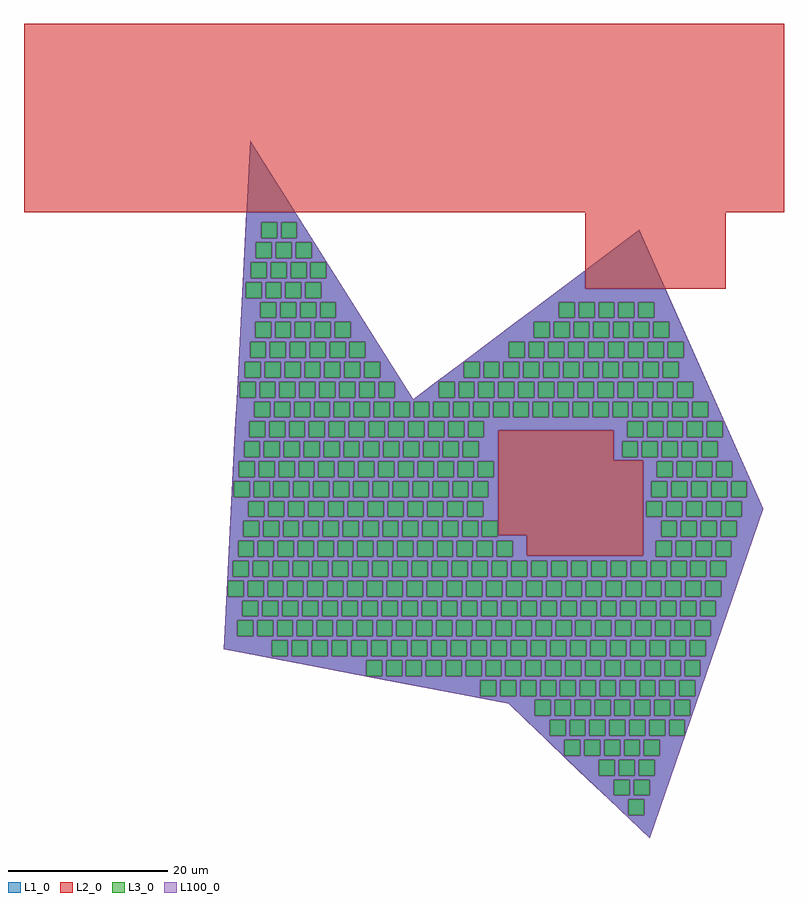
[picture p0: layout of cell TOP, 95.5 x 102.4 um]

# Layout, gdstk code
import gdstk
lib = gdstk.Library(unit=1e-6, precision=1e-09)
def R(c, l, rs):  # rectangles x0, y0, x1, y1
    for r in rs: c.add(gdstk.rectangle(r[:2], r[2:], *l))
def P(c, l, *ps):  # polygons
    for p in ps: c.add(gdstk.Polygon(p, *l))
L1_0 = (1, 0)
L2_0 = (2, 0)
L3_0 = (3, 0)
L100_0 = (100, 0)

fill_cell = lib.new_cell('FILL_CELL')
R(fill_cell, L3_0, [(0,0,2,2)])

top = lib.new_cell('TOP')
P(top, L1_0, [(51.8,-25.4),(34.1,-8.5),(-1.7,-1.6),(1.6,62.3),(22.1,29.8),(50.5,51.1),(66.1,16)])
R(top, L2_0, [(36.4,10.1,51,22.1), (32.8,12.7,47.3,25.9), (43.7,43.7,61.4,56.5), (-26.8,53.3,68.7,77)])
P(top, L100_0, [(51.8,-25.4),(46.668,-20.5),(49.15,-20.5),(49.15,-22.5),(51.15,-22.5),(51.15,-20.5),(46.668,-20.5),(44.05,-18),(47.3,-18),(47.3,-20),(49.3,-20),(49.3,-18),(49.8,-18),(49.8,-20),(51.8,-20),(51.8,-18),(44.05,-18),(41.432,-15.5),(45.45,-15.5),(45.45,-17.5),(47.45,-17.5),(47.45,-15.5),(47.95,-15.5),(47.95,-17.5),(49.95,-17.5),(49.95,-15.5),(50.45,-15.5),(50.45,-17.5),(52.45,-17.5),(52.45,-15.5),(41.432,-15.5),(38.813,-13),(41.1,-13),(41.1,-15),(43.1,-15),(43.1,-13),(43.6,-13),(43.6,-15),(45.6,-15),(45.6,-13),(46.1,-13),(46.1,-15),(48.1,-15),(48.1,-13),(48.6,-13),(48.6,-15),(50.6,-15),(50.6,-13),(51.1,-13),(51.1,-15),(53.1,-15),(53.1,-13),(38.813,-13),(36.195,-10.5),(39.25,-10.5),(39.25,-12.5),(41.25,-12.5),(41.25,-10.5),(41.75,-10.5),(41.75,-12.5),(43.75,-12.5),(43.75,-10.5),(44.25,-10.5),(44.25,-12.5),(46.25,-12.5),(46.25,-10.5),(46.75,-10.5),(46.75,-12.5),(48.75,-12.5),(48.75,-10.5),(49.25,-10.5),(49.25,-12.5),(51.25,-12.5),(51.25,-10.5),(51.75,-10.5),(51.75,-12.5),(53.75,-12.5),(53.75,-10.5),(54.25,-10.5),(54.25,-12.5),(56.25,-12.5),(56.25,-10.5),(36.195,-10.5),(34.1,-8.5),(31.506,-8),(37.4,-8),(37.4,-10),(39.4,-10),(39.4,-8),(39.9,-8),(39.9,-10),(41.9,-10),(41.9,-8),(42.4,-8),(42.4,-10),(44.4,-10),(44.4,-8),(44.9,-8),(44.9,-10),(46.9,-10),(46.9,-8),(47.4,-8),(47.4,-10),(49.4,-10),(49.4,-8),(49.9,-8),(49.9,-10),(51.9,-10),(51.9,-8),(52.4,-8),(52.4,-10),(54.4,-10),(54.4,-8),(54.9,-8),(54.9,-10),(56.9,-10),(56.9,-8),(31.506,-8),(18.535,-5.5),(30.55,-5.5),(30.55,-7.5),(32.55,-7.5),(32.55,-5.5),(33.05,-5.5),(33.05,-7.5),(35.05,-7.5),(35.05,-5.5),(35.55,-5.5),(35.55,-7.5),(37.55,-7.5),(37.55,-5.5),(38.05,-5.5),(38.05,-7.5),(40.05,-7.5),(40.05,-5.5),(40.55,-5.5),(40.55,-7.5),(42.55,-7.5),(42.55,-5.5),(43.05,-5.5),(43.05,-7.5),(45.05,-7.5),(45.05,-5.5),(45.55,-5.5),(45.55,-7.5),(47.55,-7.5),(47.55,-5.5),(48.05,-5.5),(48.05,-7.5),(50.05,-7.5),(50.05,-5.5),(50.55,-5.5),(50.55,-7.5),(52.55,-7.5),(52.55,-5.5),(53.05,-5.5),(53.05,-7.5),(55.05,-7.5),(55.05,-5.5),(55.55,-5.5),(55.55,-7.5),(57.55,-7.5),(57.55,-5.5),(18.535,-5.5),(5.564,-3),(16.2,-3),(16.2,-5),(18.2,-5),(18.2,-3),(18.7,-3),(18.7,-5),(20.7,-5),(20.7,-3),(21.2,-3),(21.2,-5),(23.2,-5),(23.2,-3),(23.7,-3),(23.7,-5),(25.7,-5),(25.7,-3),(26.2,-3),(26.2,-5),(28.2,-5),(28.2,-3),(28.7,-3),(28.7,-5),(30.7,-5),(30.7,-3),(31.2,-3),(31.2,-5),(33.2,-5),(33.2,-3),(33.7,-3),(33.7,-5),(35.7,-5),(35.7,-3),(36.2,-3),(36.2,-5),(38.2,-5),(38.2,-3),(38.7,-3),(38.7,-5),(40.7,-5),(40.7,-3),(41.2,-3),(41.2,-5),(43.2,-5),(43.2,-3),(43.7,-3),(43.7,-5),(45.7,-5),(45.7,-3),(46.2,-3),(46.2,-5),(48.2,-5),(48.2,-3),(48.7,-3),(48.7,-5),(50.7,-5),(50.7,-3),(51.2,-3),(51.2,-5),(53.2,-5),(53.2,-3),(53.7,-3),(53.7,-5),(55.7,-5),(55.7,-3),(56.2,-3),(56.2,-5),(58.2,-5),(58.2,-3),(5.564,-3),(-1.7,-1.6),(-1.643,-0.5),(4.35,-0.5),(4.35,-2.5),(6.35,-2.5),(6.35,-0.5),(6.85,-0.5),(6.85,-2.5),(8.85,-2.5),(8.85,-0.5),(9.35,-0.5),(9.35,-2.5),(11.35,-2.5),(11.35,-0.5),(11.85,-0.5),(11.85,-2.5),(13.85,-2.5),(13.85,-0.5),(14.35,-0.5),(14.35,-2.5),(16.35,-2.5),(16.35,-0.5),(16.85,-0.5),(16.85,-2.5),(18.85,-2.5),(18.85,-0.5),(19.35,-0.5),(19.35,-2.5),(21.35,-2.5),(21.35,-0.5),(21.85,-0.5),(21.85,-2.5),(23.85,-2.5),(23.85,-0.5),(24.35,-0.5),(24.35,-2.5),(26.35,-2.5),(26.35,-0.5),(26.85,-0.5),(26.85,-2.5),(28.85,-2.5),(28.85,-0.5),(29.35,-0.5),(29.35,-2.5),(31.35,-2.5),(31.35,-0.5),(31.85,-0.5),(31.85,-2.5),(33.85,-2.5),(33.85,-0.5),(34.35,-0.5),(34.35,-2.5),(36.35,-2.5),(36.35,-0.5),(36.85,-0.5),(36.85,-2.5),(38.85,-2.5),(38.85,-0.5),(39.35,-0.5),(39.35,-2.5),(41.35,-2.5),(41.35,-0.5),(41.85,-0.5),(41.85,-2.5),(43.85,-2.5),(43.85,-0.5),(44.35,-0.5),(44.35,-2.5),(46.35,-2.5),(46.35,-0.5),(46.85,-0.5),(46.85,-2.5),(48.85,-2.5),(48.85,-0.5),(49.35,-0.5),(49.35,-2.5),(51.35,-2.5),(51.35,-0.5),(51.85,-0.5),(51.85,-2.5),(53.85,-2.5),(53.85,-0.5),(54.35,-0.5),(54.35,-2.5),(56.35,-2.5),(56.35,-0.5),(56.85,-0.5),(56.85,-2.5),(58.85,-2.5),(58.85,-0.5),(-1.643,-0.5),(-1.514,2),(0,2),(0,0),(2,0),(2,2),(2.5,2),(2.5,0),(4.5,0),(4.5,2),(5,2),(5,0),(7,0),(7,2),(7.5,2),(7.5,0),(9.5,0),(9.5,2),(10,2),(10,0),(12,0),(12,2),(12.5,2),(12.5,0),(14.5,0),(14.5,2),(15,2),(15,0),(17,0),(17,2),(17.5,2),(17.5,0),(19.5,0),(19.5,2),(20,2),(20,0),(22,0),(22,2),(22.5,2),(22.5,0),(24.5,0),(24.5,2),(25,2),(25,0),(27,0),(27,2),(27.5,2),(27.5,0),(29.5,0),(29.5,2),(30,2),(30,0),(32,0),(32,2),(32.5,2),(32.5,0),(34.5,0),(34.5,2),(35,2),(35,0),(37,0),(37,2),(37.5,2),(37.5,0),(39.5,0),(39.5,2),(40,2),(40,0),(42,0),(42,2),(42.5,2),(42.5,0),(44.5,0),(44.5,2),(45,2),(45,0),(47,0),(47,2),(47.5,2),(47.5,0),(49.5,0),(49.5,2),(50,2),(50,0),(52,0),(52,2),(52.5,2),(52.5,0),(54.5,0),(54.5,2),(55,2),(55,0),(57,0),(57,2),(57.5,2),(57.5,0),(59.5,0),(59.5,2),(-1.514,2),(-1.385,4.5),(0.65,4.5),(0.65,2.5),(2.65,2.5),(2.65,4.5),(3.15,4.5),(3.15,2.5),(5.15,2.5),(5.15,4.5),(5.65,4.5),(5.65,2.5),(7.65,2.5),(7.65,4.5),(8.15,4.5),(8.15,2.5),(10.15,2.5),(10.15,4.5),(10.65,4.5),(10.65,2.5),(12.65,2.5),(12.65,4.5),(13.15,4.5),(13.15,2.5),(15.15,2.5),(15.15,4.5),(15.65,4.5),(15.65,2.5),(17.65,2.5),(17.65,4.5),(18.15,4.5),(18.15,2.5),(20.15,2.5),(20.15,4.5),(20.65,4.5),(20.65,2.5),(22.65,2.5),(22.65,4.5),(23.15,4.5),(23.15,2.5),(25.15,2.5),(25.15,4.5),(25.65,4.5),(25.65,2.5),(27.65,2.5),(27.65,4.5),(28.15,4.5),(28.15,2.5),(30.15,2.5),(30.15,4.5),(30.65,4.5),(30.65,2.5),(32.65,2.5),(32.65,4.5),(33.15,4.5),(33.15,2.5),(35.15,2.5),(35.15,4.5),(35.65,4.5),(35.65,2.5),(37.65,2.5),(37.65,4.5),(38.15,4.5),(38.15,2.5),(40.15,2.5),(40.15,4.5),(40.65,4.5),(40.65,2.5),(42.65,2.5),(42.65,4.5),(43.15,4.5),(43.15,2.5),(45.15,2.5),(45.15,4.5),(45.65,4.5),(45.65,2.5),(47.65,2.5),(47.65,4.5),(48.15,4.5),(48.15,2.5),(50.15,2.5),(50.15,4.5),(50.65,4.5),(50.65,2.5),(52.65,2.5),(52.65,4.5),(53.15,4.5),(53.15,2.5),(55.15,2.5),(55.15,4.5),(55.65,4.5),(55.65,2.5),(57.65,2.5),(57.65,4.5),(58.15,4.5),(58.15,2.5),(60.15,2.5),(60.15,4.5),(-1.385,4.5),(-1.256,7),(-1.2,7),(-1.2,5),(0.8,5),(0.8,7),(1.3,7),(1.3,5),(3.3,5),(3.3,7),(3.8,7),(3.8,5),(5.8,5),(5.8,7),(6.3,7),(6.3,5),(8.3,5),(8.3,7),(8.8,7),(8.8,5),(10.8,5),(10.8,7),(11.3,7),(11.3,5),(13.3,5),(13.3,7),(13.8,7),(13.8,5),(15.8,5),(15.8,7),(16.3,7),(16.3,5),(18.3,5),(18.3,7),(18.8,7),(18.8,5),(20.8,5),(20.8,7),(21.3,7),(21.3,5),(23.3,5),(23.3,7),(23.8,7),(23.8,5),(25.8,5),(25.8,7),(26.3,7),(26.3,5),(28.3,5),(28.3,7),(28.8,7),(28.8,5),(30.8,5),(30.8,7),(31.3,7),(31.3,5),(33.3,5),(33.3,7),(33.8,7),(33.8,5),(35.8,5),(35.8,7),(36.3,7),(36.3,5),(38.3,5),(38.3,7),(38.8,7),(38.8,5),(40.8,5),(40.8,7),(41.3,7),(41.3,5),(43.3,5),(43.3,7),(43.8,7),(43.8,5),(45.8,5),(45.8,7),(46.3,7),(46.3,5),(48.3,5),(48.3,7),(48.8,7),(48.8,5),(50.8,5),(50.8,7),(51.3,7),(51.3,5),(53.3,5),(53.3,7),(53.8,7),(53.8,5),(55.8,5),(55.8,7),(56.3,7),(56.3,5),(58.3,5),(58.3,7),(58.8,7),(58.8,5),(60.8,5),(60.8,7),(-1.256,7),(-1.127,9.5),(-0.55,9.5),(-0.55,7.5),(1.45,7.5),(1.45,9.5),(1.95,9.5),(1.95,7.5),(3.95,7.5),(3.95,9.5),(4.45,9.5),(4.45,7.5),(6.45,7.5),(6.45,9.5),(6.95,9.5),(6.95,7.5),(8.95,7.5),(8.95,9.5),(9.45,9.5),(9.45,7.5),(11.45,7.5),(11.45,9.5),(11.95,9.5),(11.95,7.5),(13.95,7.5),(13.95,9.5),(14.45,9.5),(14.45,7.5),(16.45,7.5),(16.45,9.5),(16.95,9.5),(16.95,7.5),(18.95,7.5),(18.95,9.5),(19.45,9.5),(19.45,7.5),(21.45,7.5),(21.45,9.5),(21.95,9.5),(21.95,7.5),(23.95,7.5),(23.95,9.5),(24.45,9.5),(24.45,7.5),(26.45,7.5),(26.45,9.5),(26.95,9.5),(26.95,7.5),(28.95,7.5),(28.95,9.5),(29.45,9.5),(29.45,7.5),(31.45,7.5),(31.45,9.5),(31.95,9.5),(31.95,7.5),(33.95,7.5),(33.95,9.5),(34.45,9.5),(34.45,7.5),(36.45,7.5),(36.45,9.5),(36.95,9.5),(36.95,7.5),(38.95,7.5),(38.95,9.5),(39.45,9.5),(39.45,7.5),(41.45,7.5),(41.45,9.5),(41.95,9.5),(41.95,7.5),(43.95,7.5),(43.95,9.5),(44.45,9.5),(44.45,7.5),(46.45,7.5),(46.45,9.5),(46.95,9.5),(46.95,7.5),(48.95,7.5),(48.95,9.5),(49.45,9.5),(49.45,7.5),(51.45,7.5),(51.45,9.5),(51.95,9.5),(51.95,7.5),(53.95,7.5),(53.95,9.5),(54.45,9.5),(54.45,7.5),(56.45,7.5),(56.45,9.5),(56.95,9.5),(56.95,7.5),(58.95,7.5),(58.95,9.5),(59.45,9.5),(59.45,7.5),(61.45,7.5),(61.45,9.5),(-1.127,9.5),(-0.998,12),(0.1,12),(0.1,10),(2.1,10),(2.1,12),(2.6,12),(2.6,10),(4.6,10),(4.6,12),(5.1,12),(5.1,10),(7.1,10),(7.1,12),(7.6,12),(7.6,10),(9.6,10),(9.6,12),(10.1,12),(10.1,10),(12.1,10),(12.1,12),(12.6,12),(12.6,10),(14.6,10),(14.6,12),(15.1,12),(15.1,10),(17.1,10),(17.1,12),(17.6,12),(17.6,10),(19.6,10),(19.6,12),(20.1,12),(20.1,10),(22.1,10),(22.1,12),(22.6,12),(22.6,10),(24.6,10),(24.6,12),(25.1,12),(25.1,10),(27.1,10),(27.1,12),(27.6,12),(27.6,10),(29.6,10),(29.6,12),(30.1,12),(30.1,10),(32.1,10),(32.1,12),(32.6,12),(32.6,10),(34.6,10),(34.6,12),(-0.998,12),(-0.869,14.5),(0.75,14.5),(0.75,12.5),(2.75,12.5),(2.75,14.5),(3.25,14.5),(3.25,12.5),(5.25,12.5),(5.25,14.5),(5.75,14.5),(5.75,12.5),(7.75,12.5),(7.75,14.5),(8.25,14.5),(8.25,12.5),(10.25,12.5),(10.25,14.5),(10.75,14.5),(10.75,12.5),(12.75,12.5),(12.75,14.5),(13.25,14.5),(13.25,12.5),(15.25,12.5),(15.25,14.5),(15.75,14.5),(15.75,12.5),(17.75,12.5),(17.75,14.5),(18.25,14.5),(18.25,12.5),(20.25,12.5),(20.25,14.5),(20.75,14.5),(20.75,12.5),(22.75,12.5),(22.75,14.5),(23.25,14.5),(23.25,12.5),(25.25,12.5),(25.25,14.5),(25.75,14.5),(25.75,12.5),(27.75,12.5),(27.75,14.5),(28.25,14.5),(28.25,12.5),(30.25,12.5),(30.25,14.5),(30.75,14.5),(30.75,12.5),(32.75,12.5),(32.75,14.5),(-0.869,14.5),(-0.74,17),(1.4,17),(1.4,15),(3.4,15),(3.4,17),(3.9,17),(3.9,15),(5.9,15),(5.9,17),(6.4,17),(6.4,15),(8.4,15),(8.4,17),(8.9,17),(8.9,15),(10.9,15),(10.9,17),(11.4,17),(11.4,15),(13.4,15),(13.4,17),(13.9,17),(13.9,15),(15.9,15),(15.9,17),(16.4,17),(16.4,15),(18.4,15),(18.4,17),(18.9,17),(18.9,15),(20.9,15),(20.9,17),(21.4,17),(21.4,15),(23.4,15),(23.4,17),(23.9,17),(23.9,15),(25.9,15),(25.9,17),(26.4,17),(26.4,15),(28.4,15),(28.4,17),(28.9,17),(28.9,15),(30.9,15),(30.9,17),(-0.74,17),(-0.611,19.5),(-0.45,19.5),(-0.45,17.5),(1.55,17.5),(1.55,19.5),(2.05,19.5),(2.05,17.5),(4.05,17.5),(4.05,19.5),(4.55,19.5),(4.55,17.5),(6.55,17.5),(6.55,19.5),(7.05,19.5),(7.05,17.5),(9.05,17.5),(9.05,19.5),(9.55,19.5),(9.55,17.5),(11.55,17.5),(11.55,19.5),(12.05,19.5),(12.05,17.5),(14.05,17.5),(14.05,19.5),(14.55,19.5),(14.55,17.5),(16.55,17.5),(16.55,19.5),(17.05,19.5),(17.05,17.5),(19.05,17.5),(19.05,19.5),(19.55,19.5),(19.55,17.5),(21.55,17.5),(21.55,19.5),(22.05,19.5),(22.05,17.5),(24.05,17.5),(24.05,19.5),(24.55,19.5),(24.55,17.5),(26.55,17.5),(26.55,19.5),(27.05,19.5),(27.05,17.5),(29.05,17.5),(29.05,19.5),(29.55,19.5),(29.55,17.5),(31.55,17.5),(31.55,19.5),(-0.611,19.5),(-0.482,22),(0.2,22),(0.2,20),(2.2,20),(2.2,22),(2.7,22),(2.7,20),(4.7,20),(4.7,22),(5.2,22),(5.2,20),(7.2,20),(7.2,22),(7.7,22),(7.7,20),(9.7,20),(9.7,22),(10.2,22),(10.2,20),(12.2,20),(12.2,22),(12.7,22),(12.7,20),(14.7,20),(14.7,22),(15.2,22),(15.2,20),(17.2,20),(17.2,22),(17.7,22),(17.7,20),(19.7,20),(19.7,22),(20.2,22),(20.2,20),(22.2,20),(22.2,22),(22.7,22),(22.7,20),(24.7,20),(24.7,22),(25.2,22),(25.2,20),(27.2,20),(27.2,22),(27.7,22),(27.7,20),(29.7,20),(29.7,22),(30.2,22),(30.2,20),(32.2,20),(32.2,22),(-0.482,22),(-0.353,24.5),(0.85,24.5),(0.85,22.5),(2.85,22.5),(2.85,24.5),(3.35,24.5),(3.35,22.5),(5.35,22.5),(5.35,24.5),(5.85,24.5),(5.85,22.5),(7.85,22.5),(7.85,24.5),(8.35,24.5),(8.35,22.5),(10.35,22.5),(10.35,24.5),(10.85,24.5),(10.85,22.5),(12.85,22.5),(12.85,24.5),(13.35,24.5),(13.35,22.5),(15.35,22.5),(15.35,24.5),(15.85,24.5),(15.85,22.5),(17.85,22.5),(17.85,24.5),(18.35,24.5),(18.35,22.5),(20.35,22.5),(20.35,24.5),(20.85,24.5),(20.85,22.5),(22.85,22.5),(22.85,24.5),(23.35,24.5),(23.35,22.5),(25.35,22.5),(25.35,24.5),(25.85,24.5),(25.85,22.5),(27.85,22.5),(27.85,24.5),(28.35,24.5),(28.35,22.5),(30.35,22.5),(30.35,24.5),(-0.353,24.5),(-0.224,27),(1.5,27),(1.5,25),(3.5,25),(3.5,27),(4,27),(4,25),(6,25),(6,27),(6.5,27),(6.5,25),(8.5,25),(8.5,27),(9,27),(9,25),(11,25),(11,27),(11.5,27),(11.5,25),(13.5,25),(13.5,27),(14,27),(14,25),(16,25),(16,27),(16.5,27),(16.5,25),(18.5,25),(18.5,27),(19,27),(19,25),(21,25),(21,27),(21.5,27),(21.5,25),(23.5,25),(23.5,27),(24,27),(24,25),(26,25),(26,27),(26.5,27),(26.5,25),(28.5,25),(28.5,27),(29,27),(29,25),(31,25),(31,25.9),(32.8,25.9),(32.8,12.7),(36.4,12.7),(36.4,10.1),(51,10.1),(51,12),(52.6,12),(52.6,10),(54.6,10),(54.6,12),(55.1,12),(55.1,10),(57.1,10),(57.1,12),(57.6,12),(57.6,10),(59.6,10),(59.6,12),(60.1,12),(60.1,10),(62.1,10),(62.1,12),(51,12),(51,14.5),(53.25,14.5),(53.25,12.5),(55.25,12.5),(55.25,14.5),(55.75,14.5),(55.75,12.5),(57.75,12.5),(57.75,14.5),(58.25,14.5),(58.25,12.5),(60.25,12.5),(60.25,14.5),(60.75,14.5),(60.75,12.5),(62.75,12.5),(62.75,14.5),(51,14.5),(51,17),(51.4,17),(51.4,15),(53.4,15),(53.4,17),(53.9,17),(53.9,15),(55.9,15),(55.9,17),(56.4,17),(56.4,15),(58.4,15),(58.4,17),(58.9,17),(58.9,15),(60.9,15),(60.9,17),(61.4,17),(61.4,15),(63.4,15),(63.4,17),(51,17),(51,19.5),(52.05,19.5),(52.05,17.5),(54.05,17.5),(54.05,19.5),(54.55,19.5),(54.55,17.5),(56.55,17.5),(56.55,19.5),(57.05,19.5),(57.05,17.5),(59.05,17.5),(59.05,19.5),(59.55,19.5),(59.55,17.5),(61.55,17.5),(61.55,19.5),(62.05,19.5),(62.05,17.5),(64.05,17.5),(64.05,19.5),(51,19.5),(51,22),(52.7,22),(52.7,20),(54.7,20),(54.7,22),(55.2,22),(55.2,20),(57.2,20),(57.2,22),(57.7,22),(57.7,20),(59.7,20),(59.7,22),(60.2,22),(60.2,20),(62.2,20),(62.2,22),(51,22),(51,22.1),(47.3,22.1),(47.3,24.5),(48.35,24.5),(48.35,22.5),(50.35,22.5),(50.35,24.5),(50.85,24.5),(50.85,22.5),(52.85,22.5),(52.85,24.5),(53.35,24.5),(53.35,22.5),(55.35,22.5),(55.35,24.5),(55.85,24.5),(55.85,22.5),(57.85,22.5),(57.85,24.5),(58.35,24.5),(58.35,22.5),(60.35,22.5),(60.35,24.5),(47.3,24.5),(47.3,25.9),(31,25.9),(31,27),(49,27),(49,25),(51,25),(51,27),(51.5,27),(51.5,25),(53.5,25),(53.5,27),(54,27),(54,25),(56,25),(56,27),(56.5,27),(56.5,25),(58.5,25),(58.5,27),(59,27),(59,25),(61,25),(61,27),(-0.224,27),(-0.095,29.5),(2.15,29.5),(2.15,27.5),(4.15,27.5),(4.15,29.5),(4.65,29.5),(4.65,27.5),(6.65,27.5),(6.65,29.5),(7.15,29.5),(7.15,27.5),(9.15,27.5),(9.15,29.5),(9.65,29.5),(9.65,27.5),(11.65,27.5),(11.65,29.5),(12.15,29.5),(12.15,27.5),(14.15,27.5),(14.15,29.5),(14.65,29.5),(14.65,27.5),(16.65,27.5),(16.65,29.5),(17.15,29.5),(17.15,27.5),(19.15,27.5),(19.15,29.5),(19.65,29.5),(19.65,27.5),(21.65,27.5),(21.65,29.5),(22.15,29.5),(22.15,27.5),(24.15,27.5),(24.15,29.5),(24.65,29.5),(24.65,27.5),(26.65,27.5),(26.65,29.5),(27.15,29.5),(27.15,27.5),(29.15,27.5),(29.15,29.5),(29.65,29.5),(29.65,27.5),(31.65,27.5),(31.65,29.5),(32.15,29.5),(32.15,27.5),(34.15,27.5),(34.15,29.5),(34.65,29.5),(34.65,27.5),(36.65,27.5),(36.65,29.5),(37.15,29.5),(37.15,27.5),(39.15,27.5),(39.15,29.5),(39.65,29.5),(39.65,27.5),(41.65,27.5),(41.65,29.5),(42.15,29.5),(42.15,27.5),(44.15,27.5),(44.15,29.5),(44.65,29.5),(44.65,27.5),(46.65,27.5),(46.65,29.5),(47.15,29.5),(47.15,27.5),(49.15,27.5),(49.15,29.5),(49.65,29.5),(49.65,27.5),(51.65,27.5),(51.65,29.5),(52.15,29.5),(52.15,27.5),(54.15,27.5),(54.15,29.5),(54.65,29.5),(54.65,27.5),(56.65,27.5),(56.65,29.5),(57.15,29.5),(57.15,27.5),(59.15,27.5),(59.15,29.5),(-0.095,29.5),(0.034,32),(0.3,32),(0.3,30),(2.3,30),(2.3,32),(2.8,32),(2.8,30),(4.8,30),(4.8,32),(5.3,32),(5.3,30),(7.3,30),(7.3,32),(7.8,32),(7.8,30),(9.8,30),(9.8,32),(10.3,32),(10.3,30),(12.3,30),(12.3,32),(12.8,32),(12.8,30),(14.8,30),(14.8,32),(15.3,32),(15.3,30),(17.3,30),(17.3,32),(17.8,32),(17.8,30),(19.8,30),(19.8,32),(0.034,32),(0.163,34.5),(0.95,34.5),(0.95,32.5),(2.95,32.5),(2.95,34.5),(3.45,34.5),(3.45,32.5),(5.45,32.5),(5.45,34.5),(5.95,34.5),(5.95,32.5),(7.95,32.5),(7.95,34.5),(8.45,34.5),(8.45,32.5),(10.45,32.5),(10.45,34.5),(10.95,34.5),(10.95,32.5),(12.95,32.5),(12.95,34.5),(13.45,34.5),(13.45,32.5),(15.45,32.5),(15.45,34.5),(15.95,34.5),(15.95,32.5),(17.95,32.5),(17.95,34.5),(0.163,34.5),(0.292,37),(1.6,37),(1.6,35),(3.6,35),(3.6,37),(4.1,37),(4.1,35),(6.1,35),(6.1,37),(6.6,37),(6.6,35),(8.6,35),(8.6,37),(9.1,37),(9.1,35),(11.1,35),(11.1,37),(11.6,37),(11.6,35),(13.6,35),(13.6,37),(14.1,37),(14.1,35),(16.1,35),(16.1,37),(0.292,37),(0.421,39.5),(2.25,39.5),(2.25,37.5),(4.25,37.5),(4.25,39.5),(4.75,39.5),(4.75,37.5),(6.75,37.5),(6.75,39.5),(7.25,39.5),(7.25,37.5),(9.25,37.5),(9.25,39.5),(9.75,39.5),(9.75,37.5),(11.75,37.5),(11.75,39.5),(12.25,39.5),(12.25,37.5),(14.25,37.5),(14.25,39.5),(0.421,39.5),(0.55,42),(2.9,42),(2.9,40),(4.9,40),(4.9,42),(5.4,42),(5.4,40),(7.4,40),(7.4,42),(7.9,42),(7.9,40),(9.9,40),(9.9,42),(10.4,42),(10.4,40),(12.4,40),(12.4,42),(0.55,42),(0.679,44.5),(1.05,44.5),(1.05,42.5),(3.05,42.5),(3.05,44.5),(3.55,44.5),(3.55,42.5),(5.55,42.5),(5.55,44.5),(6.05,44.5),(6.05,42.5),(8.05,42.5),(8.05,44.5),(8.55,44.5),(8.55,42.5),(10.55,42.5),(10.55,44.5),(0.679,44.5),(0.809,47),(1.7,47),(1.7,45),(3.7,45),(3.7,47),(4.2,47),(4.2,45),(6.2,45),(6.2,47),(6.7,47),(6.7,45),(8.7,45),(8.7,47),(9.2,47),(9.2,45),(11.2,45),(11.2,47),(0.809,47),(0.938,49.5),(2.35,49.5),(2.35,47.5),(4.35,47.5),(4.35,49.5),(4.85,49.5),(4.85,47.5),(6.85,47.5),(6.85,49.5),(7.35,49.5),(7.35,47.5),(9.35,47.5),(9.35,49.5),(0.938,49.5),(1.068,52),(3,52),(3,50),(5,50),(5,52),(5.5,52),(5.5,50),(7.5,50),(7.5,52),(1.068,52),(1.135,53.3),(7.277,53.3),(22.1,29.8),(25.033,32),(25.3,32),(25.3,30),(27.3,30),(27.3,32),(27.8,32),(27.8,30),(29.8,30),(29.8,32),(30.3,32),(30.3,30),(32.3,30),(32.3,32),(32.8,32),(32.8,30),(34.8,30),(34.8,32),(35.3,32),(35.3,30),(37.3,30),(37.3,32),(37.8,32),(37.8,30),(39.8,30),(39.8,32),(40.3,32),(40.3,30),(42.3,30),(42.3,32),(42.8,32),(42.8,30),(44.8,30),(44.8,32),(45.3,32),(45.3,30),(47.3,30),(47.3,32),(47.8,32),(47.8,30),(49.8,30),(49.8,32),(50.3,32),(50.3,30),(52.3,30),(52.3,32),(52.8,32),(52.8,30),(54.8,30),(54.8,32),(55.3,32),(55.3,30),(57.3,30),(57.3,32),(25.033,32),(28.366,34.5),(28.45,34.5),(28.45,32.5),(30.45,32.5),(30.45,34.5),(30.95,34.5),(30.95,32.5),(32.95,32.5),(32.95,34.5),(33.45,34.5),(33.45,32.5),(35.45,32.5),(35.45,34.5),(35.95,34.5),(35.95,32.5),(37.95,32.5),(37.95,34.5),(38.45,34.5),(38.45,32.5),(40.45,32.5),(40.45,34.5),(40.95,34.5),(40.95,32.5),(42.95,32.5),(42.95,34.5),(43.45,34.5),(43.45,32.5),(45.45,32.5),(45.45,34.5),(45.95,34.5),(45.95,32.5),(47.95,32.5),(47.95,34.5),(48.45,34.5),(48.45,32.5),(50.45,32.5),(50.45,34.5),(50.95,34.5),(50.95,32.5),(52.95,32.5),(52.95,34.5),(53.45,34.5),(53.45,32.5),(55.45,32.5),(55.45,34.5),(28.366,34.5),(31.699,37),(34.1,37),(34.1,35),(36.1,35),(36.1,37),(36.6,37),(36.6,35),(38.6,35),(38.6,37),(39.1,37),(39.1,35),(41.1,35),(41.1,37),(41.6,37),(41.6,35),(43.6,35),(43.6,37),(44.1,37),(44.1,35),(46.1,35),(46.1,37),(46.6,37),(46.6,35),(48.6,35),(48.6,37),(49.1,37),(49.1,35),(51.1,35),(51.1,37),(51.6,37),(51.6,35),(53.6,35),(53.6,37),(54.1,37),(54.1,35),(56.1,35),(56.1,37),(31.699,37),(35.033,39.5),(37.25,39.5),(37.25,37.5),(39.25,37.5),(39.25,39.5),(39.75,39.5),(39.75,37.5),(41.75,37.5),(41.75,39.5),(42.25,39.5),(42.25,37.5),(44.25,37.5),(44.25,39.5),(44.75,39.5),(44.75,37.5),(46.75,37.5),(46.75,39.5),(47.25,39.5),(47.25,37.5),(49.25,37.5),(49.25,39.5),(49.75,39.5),(49.75,37.5),(51.75,37.5),(51.75,39.5),(52.25,39.5),(52.25,37.5),(54.25,37.5),(54.25,39.5),(35.033,39.5),(38.366,42),(40.4,42),(40.4,40),(42.4,40),(42.4,42),(42.9,42),(42.9,40),(44.9,40),(44.9,42),(45.4,42),(45.4,40),(47.4,40),(47.4,42),(47.9,42),(47.9,40),(49.9,40),(49.9,42),(50.4,42),(50.4,40),(52.4,40),(52.4,42),(38.366,42),(43.7,46),(43.7,43.7),(53.789,43.7),(66.1,16)])
r = gdstk.Reference(fill_cell, (16.2,-5)); r.repetition = gdstk.Repetition(17, 1, v1=(2.5,0), v2=(0,0)); top.add(r)
r = gdstk.Reference(fill_cell, (4.35,-2.5)); r.repetition = gdstk.Repetition(22, 1, v1=(2.5,0), v2=(0,0)); top.add(r)
r = gdstk.Reference(fill_cell, (47.3,-20)); r.repetition = gdstk.Repetition(2, 1, v1=(2.5,0), v2=(0,0)); top.add(r)
r = gdstk.Reference(fill_cell, (3,50)); r.repetition = gdstk.Repetition(2, 1, v1=(2.5,0), v2=(0,0)); top.add(r)
r = gdstk.Reference(fill_cell, (0.1,10)); r.repetition = gdstk.Repetition(14, 1, v1=(2.5,0), v2=(0,0)); top.add(r)
r = gdstk.Reference(fill_cell, (0,0)); r.repetition = gdstk.Repetition(24, 1, v1=(2.5,0), v2=(0,0)); top.add(r)
r = gdstk.Reference(fill_cell, (0.65,2.5)); r.repetition = gdstk.Repetition(24, 1, v1=(2.5,0), v2=(0,0)); top.add(r)
r = gdstk.Reference(fill_cell, (52.6,10)); r.repetition = gdstk.Repetition(4, 1, v1=(2.5,0), v2=(0,0)); top.add(r)
r = gdstk.Reference(fill_cell, (53.25,12.5)); r.repetition = gdstk.Repetition(4, 1, v1=(2.5,0), v2=(0,0)); top.add(r)
r = gdstk.Reference(fill_cell, (52.7,20)); r.repetition = gdstk.Repetition(4, 1, v1=(2.5,0), v2=(0,0)); top.add(r)
r = gdstk.Reference(fill_cell, (2.9,40)); r.repetition = gdstk.Repetition(4, 1, v1=(2.5,0), v2=(0,0)); top.add(r)
r = gdstk.Reference(fill_cell, (1.05,42.5)); r.repetition = gdstk.Repetition(4, 1, v1=(2.5,0), v2=(0,0)); top.add(r)
r = gdstk.Reference(fill_cell, (1.7,45)); r.repetition = gdstk.Repetition(4, 1, v1=(2.5,0), v2=(0,0)); top.add(r)
r = gdstk.Reference(fill_cell, (0.75,12.5)); r.repetition = gdstk.Repetition(13, 1, v1=(2.5,0), v2=(0,0)); top.add(r)
r = gdstk.Reference(fill_cell, (-0.45,17.5)); r.repetition = gdstk.Repetition(13, 1, v1=(2.5,0), v2=(0,0)); top.add(r)
r = gdstk.Reference(fill_cell, (0.2,20)); r.repetition = gdstk.Repetition(13, 1, v1=(2.5,0), v2=(0,0)); top.add(r)
r = gdstk.Reference(fill_cell, (25.3,30)); r.repetition = gdstk.Repetition(13, 1, v1=(2.5,0), v2=(0,0)); top.add(r)
r = gdstk.Reference(fill_cell, (1.4,15)); r.repetition = gdstk.Repetition(12, 1, v1=(2.5,0), v2=(0,0)); top.add(r)
r = gdstk.Reference(fill_cell, (0.85,22.5)); r.repetition = gdstk.Repetition(12, 1, v1=(2.5,0), v2=(0,0)); top.add(r)
r = gdstk.Reference(fill_cell, (1.5,25)); r.repetition = gdstk.Repetition(12, 1, v1=(2.5,0), v2=(0,0)); top.add(r)
r = gdstk.Reference(fill_cell, (45.45,-17.5)); r.repetition = gdstk.Repetition(3, 1, v1=(2.5,0), v2=(0,0)); top.add(r)
r = gdstk.Reference(fill_cell, (2.35,47.5)); r.repetition = gdstk.Repetition(3, 1, v1=(2.5,0), v2=(0,0)); top.add(r)
r = gdstk.Reference(fill_cell, (2.15,27.5)); r.repetition = gdstk.Repetition(23, 1, v1=(2.5,0), v2=(0,0)); top.add(r)
top.add(gdstk.Reference(fill_cell, (49.15,-22.5)))
r = gdstk.Reference(fill_cell, (-1.2,5)); r.repetition = gdstk.Repetition(25, 1, v1=(2.5,0), v2=(0,0)); top.add(r)
r = gdstk.Reference(fill_cell, (-0.55,7.5)); r.repetition = gdstk.Repetition(25, 1, v1=(2.5,0), v2=(0,0)); top.add(r)
r = gdstk.Reference(fill_cell, (41.1,-15)); r.repetition = gdstk.Repetition(5, 1, v1=(2.5,0), v2=(0,0)); top.add(r)
r = gdstk.Reference(fill_cell, (51.4,15)); r.repetition = gdstk.Repetition(5, 1, v1=(2.5,0), v2=(0,0)); top.add(r)
r = gdstk.Reference(fill_cell, (52.05,17.5)); r.repetition = gdstk.Repetition(5, 1, v1=(2.5,0), v2=(0,0)); top.add(r)
r = gdstk.Reference(fill_cell, (48.35,22.5)); r.repetition = gdstk.Repetition(5, 1, v1=(2.5,0), v2=(0,0)); top.add(r)
r = gdstk.Reference(fill_cell, (49,25)); r.repetition = gdstk.Repetition(5, 1, v1=(2.5,0), v2=(0,0)); top.add(r)
r = gdstk.Reference(fill_cell, (2.25,37.5)); r.repetition = gdstk.Repetition(5, 1, v1=(2.5,0), v2=(0,0)); top.add(r)
r = gdstk.Reference(fill_cell, (40.4,40)); r.repetition = gdstk.Repetition(5, 1, v1=(2.5,0), v2=(0,0)); top.add(r)
r = gdstk.Reference(fill_cell, (37.4,-10)); r.repetition = gdstk.Repetition(8, 1, v1=(2.5,0), v2=(0,0)); top.add(r)
r = gdstk.Reference(fill_cell, (0.3,30)); r.repetition = gdstk.Repetition(8, 1, v1=(2.5,0), v2=(0,0)); top.add(r)
r = gdstk.Reference(fill_cell, (39.25,-12.5)); r.repetition = gdstk.Repetition(7, 1, v1=(2.5,0), v2=(0,0)); top.add(r)
r = gdstk.Reference(fill_cell, (0.95,32.5)); r.repetition = gdstk.Repetition(7, 1, v1=(2.5,0), v2=(0,0)); top.add(r)
r = gdstk.Reference(fill_cell, (37.25,37.5)); r.repetition = gdstk.Repetition(7, 1, v1=(2.5,0), v2=(0,0)); top.add(r)
r = gdstk.Reference(fill_cell, (30.55,-7.5)); r.repetition = gdstk.Repetition(11, 1, v1=(2.5,0), v2=(0,0)); top.add(r)
r = gdstk.Reference(fill_cell, (28.45,32.5)); r.repetition = gdstk.Repetition(11, 1, v1=(2.5,0), v2=(0,0)); top.add(r)
r = gdstk.Reference(fill_cell, (1.6,35)); r.repetition = gdstk.Repetition(6, 1, v1=(2.5,0), v2=(0,0)); top.add(r)
r = gdstk.Reference(fill_cell, (34.1,35)); r.repetition = gdstk.Repetition(9, 1, v1=(2.5,0), v2=(0,0)); top.add(r)

lib.write_gds('TOP.gds')
